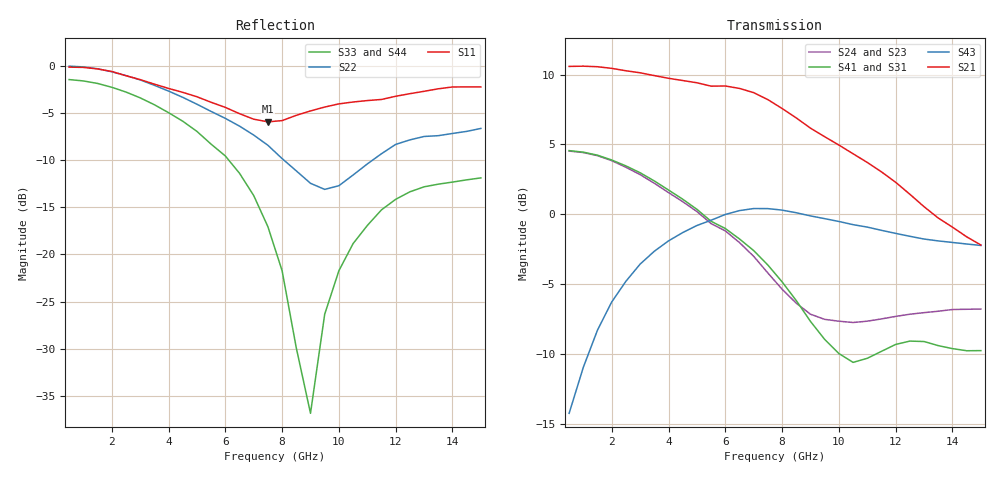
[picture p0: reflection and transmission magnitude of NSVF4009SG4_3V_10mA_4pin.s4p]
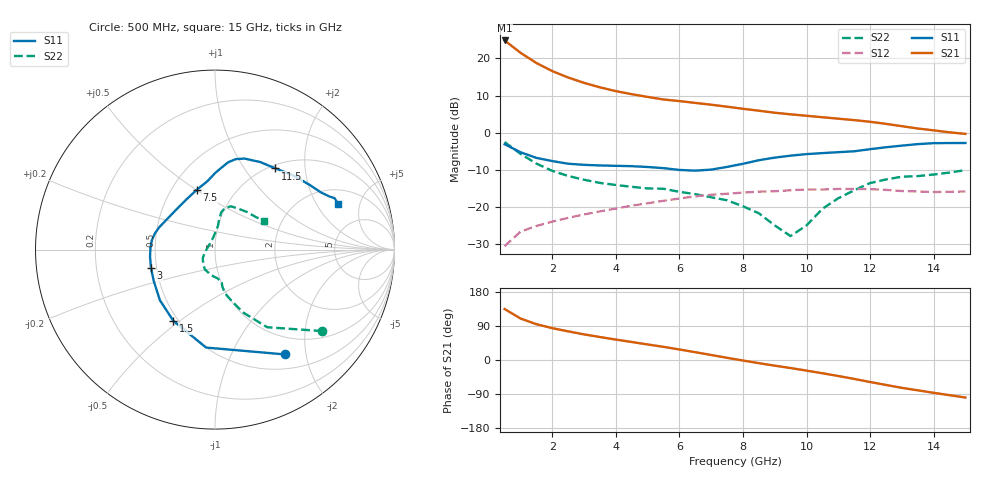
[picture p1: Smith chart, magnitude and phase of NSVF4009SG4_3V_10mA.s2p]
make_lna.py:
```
"""Create the example LNA_2G4.hzn: a 2.4 GHz low-noise amplifier that can be built as drawn.

python examples/make_lna.py  ->  examples/LNA_2G4.hzn

One common-emitter stage with the onsemi NSVF4009SG4 (in production, AEC-Q101) on a 0.508 mm RO4350B board with
0402 parts, 5 V supply, collector-feedback bias at VCE = 3 V and IC = 10 mA. Who computes what:

- Hertzon: the schematic, the microstrip lines, junctions and vias, the lumped parts with their parasitics, and the
  reduction of the whole linear circuit to the transistor pins, the ports and the supply
- ngspice: the bias point and the small-signal admittance of the transistor (S-parameter analysis)
- circuitRF: the harmonic balance (gain compression over the drive power)

Both engines run the same transistor model, models/nsvf4009sg4.va (onsemi's Gummel-Poon parameters and package
values from the data sheet, in Verilog-A). The design "LNA_Measured" is the same board with onsemi's measured
S-parameters of the transistor (VCE = 3 V, IC = 10 mA) in place of the model: Hertzon alone, as a check of the
model.

The parts carry their footprints (0402, the transistor in SC-82FL) and the board is placed (Simulation > 3D Layout
> Board Layout): Create 3D Layout builds it for the full-wave solver, Board Circuit puts the solved board back
under the transistor.
"""
from __future__ import annotations

import sys
from pathlib import Path

sys.path.insert(0, str(Path(__file__).resolve().parents[1]))

from hertzon.model import circuit as CK  # noqa: E402
from hertzon.model.circuit import Component, Wire  # noqa: E402
from hertzon.model.design import Design, Project, Report, Setup, Sweep  # noqa: E402

# the parts as built (values of the bill of materials)
VALUES = {
    "C1": "3.6pF",        # input: series resonant with L1 at 2.45 GHz, blocks DC and cuts the gain below the band
    "L1": "1.2nH",
    "Le": "0.85mm",      # emitter traces to the vias (emitter degeneration)
    "L2": "6.8nH",      # collector feed and shunt element of the output match
    "R3": "12ohm",      # in the collector feed: resistive load where C3 bypasses (stability below the band)
    "C3": "68pF",       # RF bypass of the feed
    "R1": "180ohm",     # collector resistor from 5 V: VCE = 3 V at IC = 10 mA
    "R2": "24kohm",     # collector-to-base bias resistor (the bias follows the current gain of the part)
    "C2": "3.9pF",      # output DC block and series element of the output match
}
TL_W, TL_L = "1.1mm", "5mm"           # 50 ohm feed lines on 0.508 mm RO4350B
PAD_W, PAD_L = "0.4mm", "0.8mm"       # traces at the transistor pins


def _cap(name, x, y, rot, value, esl="0.3nH", esr="0.15ohm"):
    """An 0402 C0G capacitor: the capacitance with its typical series inductance and resistance."""
    return Component(name, "SRLC", x, y, rot, {"R": esr, "L": esl, "C": value})


def _ind(name, x, y, rot, value, q=40.0, cpar="0.1pF", f=2.45e9):
    """An 0402 wire-wound inductor: the inductance, its loss as a parallel resistance for the Q at the design
    frequency and its winding capacitance."""
    from hertzon.model.expr import Evaluator
    henry = Evaluator({}).value(value)
    return Component(name, "PRLC", x, y, rot, {"R": f"{2 * 3.141592653589793 * f * henry * q:.4g}ohm", "L": value,
                                                "C": cpar})


def _line(name, x, y, rot, w, length):
    return Component(name, "MLIN", x, y, rot, {"Subst": "Sub1", "W": w, "L": length})


def _wire(*pts):
    return Wire([list(p) for p in pts])


def schematic(d: Design, values: dict, measured: bool = False) -> None:
    """The amplifier, drawn left to right: input, transistor (pins b, c, e1, e2), output, the bias network above."""
    v = values
    via = {"Subst": "Sub1", "D": "0.3mm", "N": "2", "P": "0.6mm"}
    comps = [
        Component("Sub1", "SUBST", 60, -200, 0, {**CK.TYPES["SUBST"].props, "Er": "3.66", "H": "0.508mm",
                                                  "T": "35um", "TanD": "0.0037"}),
        Component("RF_in", "PORT", 0, 40, 0, {"Num": "1", "Z0": "50ohm"}),
        _line("TL_in", 100, 0, 0, TL_W, TL_L),
        _cap("C1", 220, 0, 0, v["C1"]),
        _ind("L1", 380, 0, 0, v["L1"]),
        _line("TL_b", 540, 0, 0, PAD_W, PAD_L),
        _line("TL_e1", 600, 100, 90, PAD_W, v["Le"]),
        Component("V_e1", "MVIA", 600, 160, 0, dict(via)),
        _line("TL_e2", 760, 100, 90, PAD_W, v["Le"]),
        Component("V_e2", "MVIA", 760, 160, 0, dict(via)),
        _line("TL_c", 820, 0, 0, PAD_W, PAD_L),
        _ind("L2", 960, -40, 90, v["L2"]),
        Component("R3", "R", 960, -110, 90, {"R": v["R3"]}),
        _cap("C3", 1080, -120, 90, v["C3"]),
        Component("V_c3", "MVIA", 1080, -60, 0, dict(via)),
        Component("R1", "R", 960, -200, 90, {"R": v["R1"]}),
        Component("R2", "R", 760, -160, 0, {"R": v["R2"]}),
        _cap("C2", 1080, 0, 0, v["C2"]),
        _line("TL_out", 1200, 0, 0, TL_W, TL_L),
        Component("RF_out", "PORT", 1280, 40, 0, {"Num": "2", "Z0": "50ohm"}),
    ]
    wires = [
        _wire((0, 0), (60, 0)), _wire((140, 0), (180, 0)), _wire((260, 0), (340, 0)), _wire((420, 0), (500, 0)),
        _wire((580, 0), (620, 0)),                                   # base trace to the base pin
        _wire((620, 20), (600, 20), (600, 60)), _wire((740, 20), (760, 20), (760, 60)),     # emitter leads
        _wire((740, 0), (780, 0)), _wire((860, 0), (960, 0), (1040, 0)),
        _wire((1120, 0), (1160, 0)), _wire((1240, 0), (1280, 0)),
        _wire((730, -160), (580, -160), (580, 0)),                   # bias resistor to the base
        _wire((790, -160), (960, -160), (1080, -160)),               # feed node: R3, R1, R2, C3
        _wire((960, -140), (960, -160)), _wire((960, -170), (960, -160)), _wire((960, -230), (960, -240)),
    ]
    if measured:
        comps.append(Component("Q1", "SNP", 680, 10, 0, {"File": "models/NSVF4009SG4_3V_10mA_4pin.s4p",
                                                         "Ports": "4", "PortNames": "b,c,e1,e2"}))
        comps.append(Component("GND_vcc", "GND", 960, -230, 0, {}))     # the supply is an RF short
    else:
        comps += [
            Component("Q1", "DEVICE", 680, 10, 0, {"Kind": "Verilog-A", "Model": "", "Pins": "b c e1 e2",
                                                   "Params": "", "File": "models/nsvf4009sg4.va"}),
            _cap("C4", 1200, -200, 90, "1uF", esl="0.5nH", esr="0.01ohm"),
            Component("GND_c4", "GND", 1200, -150, 0, {}),
            Component("VCC", "VDC", 1360, -210, 0, {"V": "5V"}),
            Component("GND_vcc", "GND", 1360, -170, 0, {}),
        ]
        wires.append(_wire((960, -240), (1200, -240), (1360, -240)))
    # more room for the values under the parts of the signal path
    def sx(x):
        return x + sum(40 for edge in (180, 340, 1040, 1160) if x >= edge)
    for c in comps:
        c.x = sx(c.x)
    for w in wires:
        w.points = [[sx(x), y] for x, y in w.points]
    d.components, d.wires = comps, wires


MU = ("mu_load = (1 - mag(S(1,1))^2) / (mag(S(2,2) - conj(S(1,1)) * (S(1,1)*S(2,2) - S(1,2)*S(2,1))) "
      "+ mag(S(1,2)*S(2,1)))\n"
      "mu_source = (1 - mag(S(2,2))^2) / (mag(S(1,1) - conj(S(2,2)) * (S(1,1)*S(2,2) - S(1,2)*S(2,1))) "
      "+ mag(S(1,2)*S(2,1)))")


def _sweep(name, start, stop, count):
    sw = Sweep(name)
    sw.props.update({"SweepType": "Discrete", "Distribution": "Linear Count", "Start": start, "Stop": stop,
                     "Count": str(count)})
    return sw


def four_pin_data(folder: Path) -> Path:
    """The measured common-emitter S-parameters (2 ports, emitter on ground) as a block with the pins b, c, e1, e2
    (4 ports against ground), so that the board's emitter lines and vias come in as in the model design: the
    indefinite admittance matrix of the transistor, the emitter split into its two leads (joined by 0.2 mOhm)."""
    import numpy as np
    from hertzon.model import touchstone
    src = folder / "NSVF4009SG4_3V_10mA.s2p"
    f, S2, z0 = touchstone.read(src)
    I2 = np.eye(2)
    out = []
    for s in S2:
        y = np.linalg.solve(I2 + s, I2 - s) / z0              # Y of the two ports
        Y = np.zeros((5, 5), complex)                       # b, c, e1, e2, e (inner)
        idx = [0, 1, 4]
        Yi = np.zeros((3, 3), complex)
        Yi[:2, :2] = y
        Yi[:2, 2] = -y.sum(1)
        Yi[2, :2] = -y.sum(0)
        Yi[2, 2] = y.sum()
        Y[np.ix_(idx, idx)] += Yi
        for k in (2, 3):                                    # each lead to the inner emitter: 0.1 mOhm
            g = 1e4
            Y[np.ix_([k, 4], [k, 4])] += np.array([[g, -g], [-g, g]])
        Yr = Y[:4, :4] - np.outer(Y[:4, 4], Y[4, :4]) / Y[4, 4]
        I4 = np.eye(4)
        out.append((I4 - z0 * Yr) @ np.linalg.inv(I4 + z0 * Yr))
    dst = folder / "NSVF4009SG4_3V_10mA_4pin.s4p"
    lines = ["! onsemi NSVF4009SG4, VCE = 3 V, IC = 10 mA: the measured S-parameters of the data sheet",
             "! (NSVF4009SG4_3V_10mA.s2p, common emitter) as a 4-port with the pins b, c, e1, e2 against ground;",
             "! written by examples/make_lna.py", "# Hz S RI R 50"]
    for fk, s in zip(f, out):
        row = [f"{fk:.6g}"] + [f"{x:.9g}" for v in s.reshape(-1) for x in (v.real, v.imag)]
        lines += [" ".join(row[:9]), " ".join(row[9:17]), " ".join(row[17:25]), " ".join(row[25:])]
    dst.write_text("\n".join(lines) + "\n")
    return dst


def footprints(d: Design) -> None:
    """The packages as built: 0402 parts, the transistor in SC-82FL (onsemi case 419AR, the manufacturer's
    recommended footprint, built into Hertzon), its emitter pads 4 and 2 on the emitter leads e1 and e2."""
    for c in d.components:
        if c.type in ("R", "SRLC", "PRLC"):
            kind = "R" if c.type == "R" else ("L" if c.name.startswith("L") else "C")
            c.props["Footprint"] = f"{kind}_0402"
        elif c.name == "Q1":
            c.props.update({"Footprint": "SC-82FL_MCPH4", "Pads": "b=3; c=1; e1=4; e2=2"})


def board(p: Project, d: Design) -> None:
    """The board as placed in Board Layout: the signal path in a row as the schematic is drawn (automatic), the
    second emitter up to its vias, the collector feed (L2, R3) up from the output DC block, C3 and R1 at the feed
    node, the supply with C4 above it, and R2 up from the base pad with a track over the emitter vias to the feed
    node."""
    from hertzon.model import board as BD
    parts, nodes, _ = BD.board_parts(p, d)
    b, _ = BD.auto_place(p, d)
    pl = b.placements

    def put(name, k, at, rot):
        q = BD.rot_pt((parts[name].pins[k].x, parts[name].pins[k].y), rot)
        pl[name] = BD.Placement(round(at[0] - q[0], 4), round(at[1] - q[1], 4), rot)

    def pin(name, k):
        return pl[name].world((parts[name].pins[k].x, parts[name].pins[k].y))

    put("TL_e2", 0, pin("Q1", 3), 90)
    put("V_e2", 0, pin("TL_e2", 1), 90)
    x9, y9 = pin("C2", 0)
    put("L2", 1, (x9 + 0.2, y9 + 0.15), 270)
    put("R3", 1, pin("L2", 0), 270)
    n12 = pin("R3", 0)
    put("C3", 0, n12, 0)
    put("V_c3", 0, pin("C3", 1), 180)
    put("R1", 1, n12, 270)
    n13 = pin("R1", 0)
    put("C4", 0, n13, 0)
    put("VCC", 0, n13, 90)
    xb, yb = pin("Q1", 0)                       # outer edge of the base pad
    put("R2", 0, (xb + 0.3, yb + 0.15), 90)
    top = pin("R2", 1)
    y = max(top[1], n12[1])
    b.tracks = [BD.Track([top, (top[0], y), (n12[0], y), n12], 0.3)]
    assert not BD.ratsnest(parts, b, nodes) and not BD.overlaps(parts, b, nodes)
    BD.store(d, b)


def lna() -> Project:
    p = Project("LNA_2G4")
    p.designs.clear()
    d = Design(name="LNA", kind="circuit")
    schematic(d, VALUES)
    d.settings["OutputVariables"] = MU
    sp = Setup("SParameters_ngspice",
               sweeps=[_sweep("Band", "2GHz", "3GHz", 101), _sweep("Wide", "10MHz", "12GHz", 600)])
    sp.props["CircuitAnalysis"] = "S-Parameters"
    hb = Setup("Compression_circuitRF", sweeps=[])
    hb.props.update({"CircuitAnalysis": "Harmonic Balance", "Tone": "2.45GHz", "Harmonics": "5", "DrivePort": "RF_in",
                     "Power": "-30:1:0"})
    d.setups = [sp, hb]
    d.reports = [
        Report("Gain and match", "Rectangular", "SParameters_ngspice : Band",
               ["dB(S(2,1))", "dB(S(1,1))", "dB(S(2,2))", "dB(S(1,2))"]),
        Report("Stability (mu > 1)", "Rectangular", "SParameters_ngspice : Wide", ["mu_load", "mu_source"]),
    ]
    m = Design(name="LNA_Measured", kind="circuit")
    schematic(m, VALUES, measured=True)
    m.settings["OutputVariables"] = MU
    ms = Setup("SParameters", sweeps=[_sweep("Band", "2GHz", "3GHz", 101), _sweep("Wide", "0.5GHz", "8GHz", 301)])
    m.setups = [ms]
    m.reports = [Report("Gain and match", "Rectangular", "SParameters : Band",
                        ["dB(S(2,1))", "dB(S(1,1))", "dB(S(2,2))", "dB(S(1,2))"])]
    p.designs += [d, m]
    footprints(d)
    board(p, d)
    return p


if __name__ == "__main__":
    out = Path(__file__).resolve().parent
    four_pin_data(out / "models")
    proj = lna()
    path = out / f"{proj.name}.hzn"
    proj.save(path)
    print("wrote", path)
```
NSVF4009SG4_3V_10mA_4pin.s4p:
! onsemi NSVF4009SG4, VCE = 3 V, IC = 10 mA: the measured S-parameters of the data sheet
! (NSVF4009SG4_3V_10mA.s2p, common emitter) as a 4-port with the pins b, c, e1, e2 against ground;
! written by examples/make_lna.py
# Hz S RI R 50
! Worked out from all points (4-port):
!   30 points, 500 MHz to 15 GHz, reference 50 ohm
!   strongest paths, dB at 500 MHz, 4 GHz, 8 GHz, 11.5 GHz, 15 GHz:
!     S21: 10.6, 9.7, 7.6, 3.0, -2.2
!     S43: -14.2, -1.9, 0.3, -1.1, -2.2
!     S41: 4.6, 1.7, -4.8, -9.8, -9.8
!     S31: 4.6, 1.7, -4.8, -9.8, -9.8
!     S24: 4.5, 1.6, -5.4, -7.5, -6.8
!     S23: 4.5, 1.6, -5.4, -7.5, -6.8
!   lowest |S11| = -5.9 dB at 7.5 GHz (marker M1), VSWR 3.04, Z = 17.6 + j12.3 ohm
!   |S11| at or under -10 dB: nowhere
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5e8  0.9628 -0.2002  0.000229 0.0459  0.0185 0.0771  0.0185 0.0771
     -3.298 0.7399  0.9827 -0.1567  1.658 -0.2916  1.658 -0.2916
     1.668 -0.2699  0.00856 0.0554  -0.8381 0.1072  0.1619 0.1072
     1.668 -0.2699  0.00856 0.0554  0.1619 0.1072  -0.8381 0.1072
7.5e9  -0.4324 0.26  0.3883 0.000461  0.5221 -0.1302  0.5221 -0.1302
       2.527 0.4724  -0.3254 -0.1942  -0.6006 -0.1391  -0.6006 -0.1391
       -0.5471 -0.3662  0.4686 0.0968  0.0393 0.1347  1.039 0.1347
       -0.5471 -0.3662  0.4686 0.0968  1.039 0.1347  0.0393 0.1347
1.5e10  0.7225 0.2733  0.1015 -0.1643  0.088 -0.0545  0.088 -0.0545
        -0.153 -0.7614  0.3966 0.2437  0.3782 0.2588  0.3782 0.2588
        0.2153 0.244  0.251 -0.0397  -0.2331 -0.1022  0.7669 -0.1022
        0.2153 0.244  0.251 -0.0397  0.7669 -0.1022  -0.2331 -0.1022
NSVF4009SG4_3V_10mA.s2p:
! onsemi NSVF4009SG4, common emitter, VCE = 3 V, IC = 10 mA: S-parameters from the data sheet NSVF4009SG4/D
! (Rev. 1, March 2024), values as printed there (500 MHz to 15 GHz)
# MHz S MA R 50
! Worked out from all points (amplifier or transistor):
!   30 points, 500 MHz to 15 GHz, reference 50 ohm
!   highest |S21| = 24.8 dB at 500 MHz (marker M1)
!   |S21| within 3 dB of that: start of sweep to 953.7 MHz
!   unconditionally stable (mu >= 1): 2.13 GHz to end of sweep
!   at 3 GHz: K = 1.19, MAG = 15.0 dB, |S12| = -21.9 dB
!   at 8 GHz: K = 1.42, MAG = 7.4 dB, |S12| = -16.1 dB
!   at 15 GHz: K = 1.61, MAG = 3.1 dB, |S12| = -15.8 dB
!   S11 on the Smith chart (normalised r, x): 500 MHz: 0.71, -1.64; 1.5 GHz: 0.47, -0.47; 3 GHz: 0.47, -0.11; 7.5 GHz: 0.66, +0.50; 11.5 GHz: 1.06, +1.40; 15 GHz: 2.83, +3.08
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500  0.702 -56.3  17.37 134.5  0.03 64.1  0.751 -37.2
1000  0.548 -95.2  11.87 109.5  0.047 51.6  0.521 -56.1
1500  0.46 -120.2  8.647 94.5  0.056 47.3  0.386 -65.7
2000  0.417 -137.4  6.729 84.0  0.064 45.7  0.308 -71.4
3000  0.371 -164.2  4.678 67.6  0.08 43.7  0.234 -77.6
4500  0.356 171.7  3.298 47.5  0.105 38.7  0.188 -78.3
7500  0.348 107.1  2.239 5.8  0.152 16.0  0.124 -117.2
8000  0.383 96.4  2.101 -1.4  0.157 11.5  0.103 -129.8
9500  0.493 81.3  1.769 -21.2  0.169 -1.5  0.041 153.8
11500  0.564 53.3  1.479 -49.9  0.176 -24.3  0.169 82.2
15000  0.729 20.5  0.966 -99.0  0.163 -63.4  0.315 30.9
